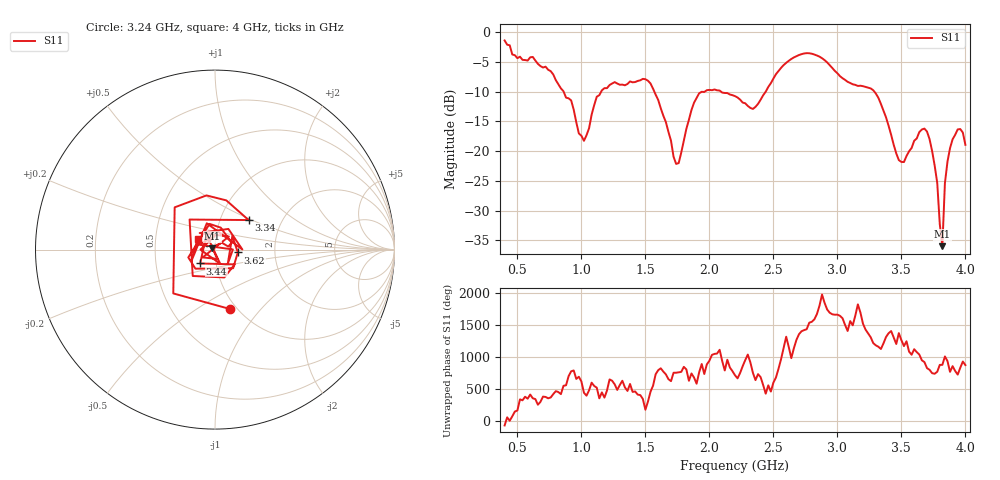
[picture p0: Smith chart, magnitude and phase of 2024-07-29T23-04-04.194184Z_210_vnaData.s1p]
!Created with skrf (http://scikit-rf.org).
# Hz S RI R 50.0
!freq ReS11 ImS11
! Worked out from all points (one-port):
!   181 points, 400 MHz to 4 GHz, reference 50 ohm
!   lowest |S11| = -36.0 dB at 3.82 GHz (marker M1), VSWR 1.03, Z = 48.6 + j0.703 ohm
!   |S11| at or under -10 dB: 1.57 GHz to 1.963 GHz (392.5 MHz wide, 22.2 % of centre); 2.092 GHz to 2.44 GHz (348.3 MHz wide, 15.4 % of centre); 3.289 GHz to end of sweep (the widest 3 of 4)
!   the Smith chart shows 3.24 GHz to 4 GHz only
!   S11 on the Smith chart (normalised r, x): 3.24 GHz: 0.93, -0.70; 3.34 GHz: 1.36, +0.48; 3.44 GHz: 0.84, -0.13; 3.62 GHz: 1.29, -0.04; 4 GHz: 0.82, +0.10
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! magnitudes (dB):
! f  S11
! 400 MHz  -1.4
! 860 MHz  -9.9
! 1.02 GHz  -18.3
! 1.12 GHz  -10.8
! 1.3 GHz  -8.8
! 1.54 GHz  -8.6
! 1.76 GHz  -22.0
! 1.92 GHz  -10.3
! 2.2 GHz  -10.7
! 2.34 GHz  -12.9
! 2.66 GHz  -4.2
! 2.86 GHz  -4.1
! 3.1 GHz  -8.5
! 3.24 GHz  -9.3
! 3.34 GHz  -12.1
! 3.44 GHz  -18.9
! 3.5 GHz  -21.8
! 3.56 GHz  -20.0
! 3.62 GHz  -17.9
! 3.68 GHz  -16.2
! 3.72 GHz  -18.0
! 3.78 GHz  -25.3
! 3.8 GHz  -32.3
! 3.82 GHz  -36.0
! 3.84 GHz  -25.4
! 3.88 GHz  -19.5
! 3.94 GHz  -16.3
! 4 GHz  -18.9
